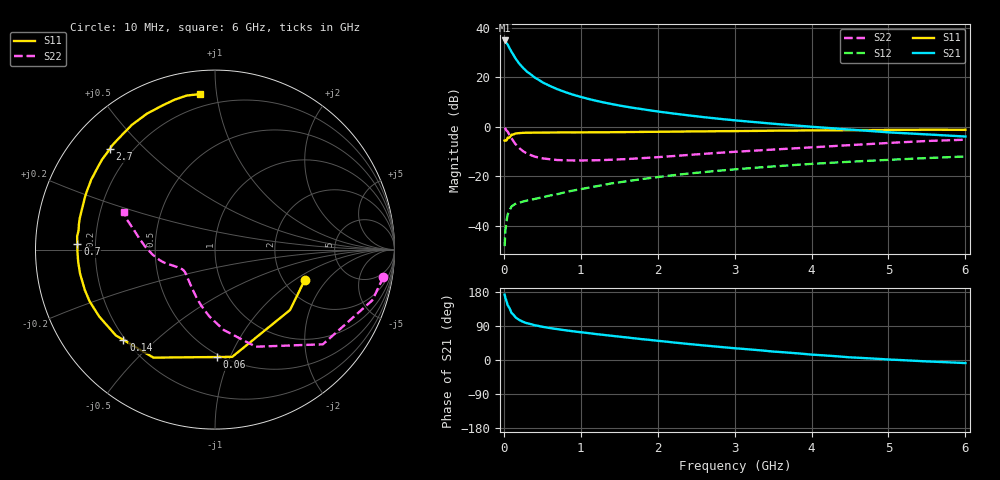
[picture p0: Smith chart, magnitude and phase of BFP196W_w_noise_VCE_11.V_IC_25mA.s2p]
! Infineon Technologies  Discrete & RF Semiconductors
! BFP196W
! VCE =  11. V,  IC =  25 mA
! Common Emitter S-Parameters:  Jan 2017
# GHz  S  MA  R  50
!  f  S11  S21  S12  S22
! GHz  MAG  ANG  MAG  ANG  MAG  ANG  MAG  ANG
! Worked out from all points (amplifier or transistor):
!   77 points, 10 MHz to 6 GHz, reference 50 ohm
!   highest |S21| = 34.8 dB at 10 MHz (marker M1)
!   |S21| within 3 dB of that: start of sweep to 72.55 MHz
!   unconditionally stable (mu >= 1): 945.9 MHz to 3.208 GHz
!   at 130 MHz: K = 0.27, MSG = 30.1 dB, |S12| = -31.5 dB
!   at 2.2 GHz: K = 1.05, MAG = 11.0 dB, |S12| = -19.6 dB
!   at 6 GHz: K = 0.90, MSG = 4.0 dB, |S12| = -12.0 dB
!   lowest NFmin = 1.07 dB at 450 MHz
!   S11 on the Smith chart (normalised r, x): 10 MHz: 2.60, -1.21; 60 MHz: 0.48, -0.89; 140 MHz: 0.19, -0.40; 700 MHz: 0.13, +0.02; 2.7 GHz: 0.12, +0.40; 6 GHz: 0.13, +0.90
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0.01  0.5282 -18.6  55.24 172.5  0.0039 74.5  0.951 -9.2
0.02  0.5366 -38.9  53.36 164.2  0.008 75.3  0.9207 -17.9
0.05  0.6053 -80.9  45.58 144.6  0.017 56.2  0.7998 -41.3
0.06  0.5986 -89.2  42.62 141.5  0.0184 52.7  0.7472 -45.2
0.1  0.6928 -119.7  32.55 124.0  0.0247 43.1  0.5868 -67.2
0.14  0.7167 -135.4  25.75 115.7  0.0272 37.9  0.4741 -79.7
0.15  0.7306 -139.1  24.16 112.9  0.0278 36.8  0.4505 -83.8
0.2  0.7452 -150.0  18.89 105.7  0.0292 35.2  0.3727 -95.0
0.25  0.7557 -157.5  15.43 100.7  0.0311 35.4  0.3216 -103.7
0.3  0.7594 -162.7  12.98 97.1  0.0324 35.3  0.2892 -110.5
0.4  0.7638 -170.0  9.9 91.7  0.035 38.3  0.2505 -120.7
0.5  0.7654 -175.2  7.952 87.7  0.0376 40.3  0.2311 -127.9
0.7  0.7677 177.6  5.705 81.4  0.0438 46.6  0.2132 -137.3
0.9  0.7676 171.8  4.441 75.8  0.0517 49.5  0.2094 -142.6
1.1  0.7734 167.0  3.652 71.0  0.0591 52.1  0.21 -146.4
1.5  0.7806 158.5  2.691 61.7  0.0756 54.3  0.22 -151.9
2.1  0.7954 146.6  1.945 48.7  0.101 54.3  0.2502 -159.1
2.7  0.8115 136.2  1.507 36.6  0.126 51.8  0.2916 -165.6
3.1  0.8211 129.8  1.309 29.5  0.1423 49.3  0.3194 -170.4
4.1  0.8476 115.3  0.976 13.0  0.1821 42.6  0.3927 176.9
5.1  0.8661 104.2  0.758 0.4  0.2189 35.2  0.4806 164.7
6  0.8704 95.6  0.636 -8.1  0.2517 28.5  0.5485 157.7
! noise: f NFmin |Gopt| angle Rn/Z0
0.45  1.07  0.43  175  0.05
0.9  1.24  0.51  -179  0.06
1.9  2.11  0.68  -152  0.12
2.4  2.53  0.74  -146  0.21
